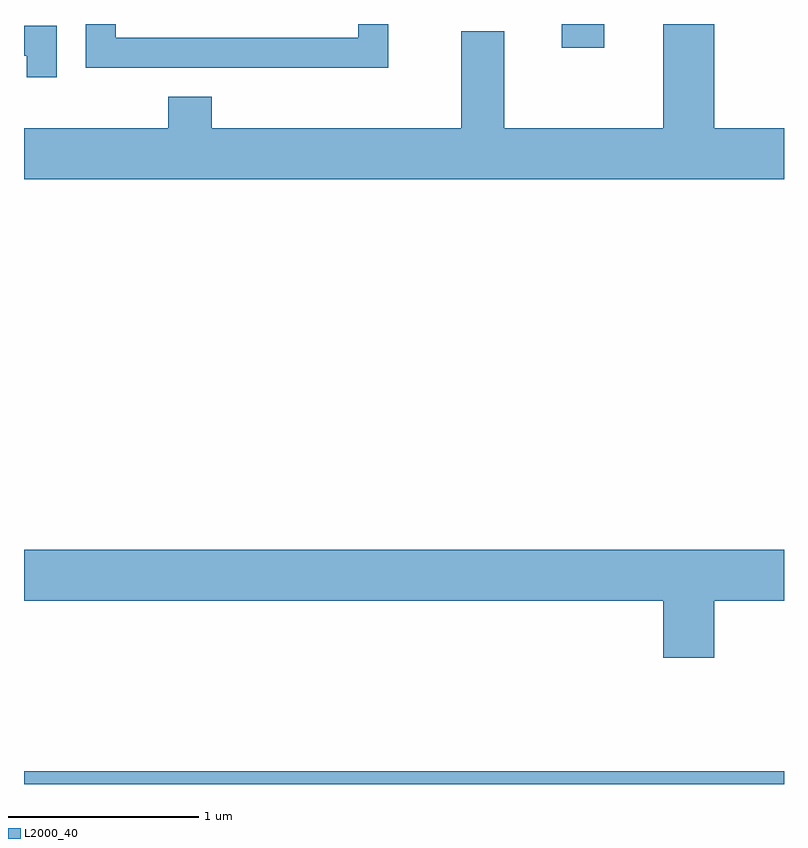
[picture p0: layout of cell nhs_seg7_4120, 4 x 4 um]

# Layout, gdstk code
import gdstk
lib = gdstk.Library(unit=1e-6, precision=1e-09)
def R(c, l, rs):  # rectangles x0, y0, x1, y1
    for r in rs: c.add(gdstk.rectangle(r[:2], r[2:], *l))
def P(c, l, *ps):  # polygons
    for p in ps: c.add(gdstk.Polygon(p, *l))
L2000_40 = (2000, 40)

nhs_seg7_4120 = lib.new_cell('nhs_seg7_4120')
R(nhs_seg7_4120, L2000_40, [(311.611,1702.252,315.611,1702.319), (314.441,1706.126,314.664,1706.252)])
P(nhs_seg7_4120, L2000_40, [(315.611,1705.704),(315.244,1705.704),(315.244,1706.252),(314.976,1706.252),(314.976,1705.704),(314.139,1705.704),(314.139,1706.214),(313.911,1706.214),(313.911,1705.704),(312.599,1705.704),(312.599,1705.869),(312.371,1705.869),(312.371,1705.704),(311.611,1705.704),(311.611,1705.436),(315.611,1705.436)],
  [(313.529,1706.252),(313.371,1706.252),(313.371,1706.179),(312.094,1706.179),(312.094,1706.252),(311.936,1706.252),(311.936,1706.021),(313.529,1706.021)],
  [(311.784,1706.244),(311.611,1706.244),(311.611,1706.086),(311.626,1706.086),(311.626,1705.973),(311.784,1705.973)],
  [(315.244,1703.216),(315.611,1703.216),(315.611,1703.484),(311.611,1703.484),(311.611,1703.216),(314.976,1703.216),(314.976,1702.916),(315.244,1702.916)])

lib.write_gds('nhs_seg7_4120.gds')
